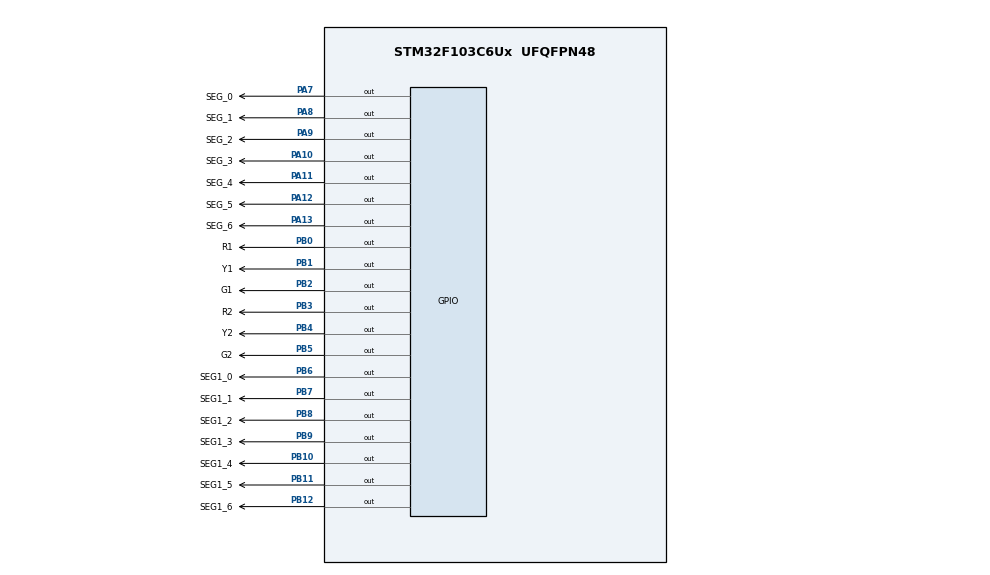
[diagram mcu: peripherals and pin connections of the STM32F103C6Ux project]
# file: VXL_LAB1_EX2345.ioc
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Mcu.Family=STM32F1
Mcu.Name=STM32F103C6Ux
Mcu.Package=UFQFPN48
NVIC.PriorityGroup=NVIC_PRIORITYGROUP_4
PA10.GPIO_Label=SEG_3
PA10.Signal=GPIO_Output
PA11.GPIO_Label=SEG_4
PA11.Signal=GPIO_Output
PA12.GPIO_Label=SEG_5
PA12.Signal=GPIO_Output
PA13.GPIO_Label=SEG_6
PA13.Signal=GPIO_Output
PA7.GPIO_Label=SEG_0
PA7.Signal=GPIO_Output
PA8.GPIO_Label=SEG_1
PA8.Signal=GPIO_Output
PA9.GPIO_Label=SEG_2
PA9.Signal=GPIO_Output
PB0.GPIO_Label=R1
PB0.Signal=GPIO_Output
PB1.GPIO_Label=Y1
PB1.Signal=GPIO_Output
PB10.GPIO_Label=SEG1_4
PB10.Signal=GPIO_Output
PB11.GPIO_Label=SEG1_5
PB11.Signal=GPIO_Output
PB12.GPIO_Label=SEG1_6
PB12.Signal=GPIO_Output
PB2.GPIO_Label=G1
PB2.Signal=GPIO_Output
PB3.GPIO_Label=R2
PB3.Signal=GPIO_Output
PB4.GPIO_Label=Y2
PB4.Signal=GPIO_Output
PB5.GPIO_Label=G2
PB5.Signal=GPIO_Output
PB6.GPIO_Label=SEG1_0
PB6.Signal=GPIO_Output
PB7.GPIO_Label=SEG1_1
PB7.Signal=GPIO_Output
PB8.GPIO_Label=SEG1_2
PB8.Signal=GPIO_Output
PB9.GPIO_Label=SEG1_3
PB9.Signal=GPIO_Output
ProjectManager.HeapSize=0x200
ProjectManager.StackSize=0x400
ProjectManager.TargetToolchain=STM32CubeIDE
RCC.APB1Freq_Value=8000000
RCC.APB2Freq_Value=8000000
VP_SYS_VS_ND.Mode=No_Debug
board=custom

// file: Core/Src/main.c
/* USER CODE BEGIN Header */
/**
  ******************************************************************************
  * @file           : main.c
  * @brief          : Main program body
  ******************************************************************************
  * @attention
  *
  * <h2><center>&copy; Copyright (c) 2024 STMicroelectronics.
  * All rights reserved.</center></h2>
  *
  * This software component is licensed by ST under BSD 3-Clause license,
  * the "License"; You may not use this file except in compliance with the
  * License. You may obtain a copy of the License at:
  *                        opensource.org/licenses/BSD-3-Clause
  *
  ******************************************************************************
  */
/* USER CODE END Header */
#include "main.h"

void SystemClock_Config(void);
static void MX_GPIO_Init(void);
/* USER CODE BEGIN PFP */
void display7SEG(int num);
void display7SEG1(int num);
/* USER CODE END PFP */

/* USER CODE BEGIN 0 */
enum ledColor {
	GREEN,
	YELLOW,
	RED
};
/* USER CODE END 0 */

int main(void)
{

  /* MCU Configuration--------------------------------------------------------*/

  /* Reset of all peripherals, Initializes the Flash interface and the Systick. */
  HAL_Init();

  /* Configure the system clock */
  SystemClock_Config();

  /* Initialize all configured peripherals */
  MX_GPIO_Init();
  /* USER CODE BEGIN 2 */

  int Rs1 = 8;
  int Gs1 = 5;
  int Ys1 = 3;
  enum ledColor next_color1 = GREEN;
  int Rs2 = 8;
  int Gs2 = 5;
  int Ys2 = 3;
  enum ledColor next_color2 = RED;
  /* USER CODE END 2 */

  /* Infinite loop */
  while (1)
  {
	  	  if (Gs1 <= 0)
	  	  	  {
	  	  		  Gs1 = 5;
	  	  		  next_color1 = YELLOW;
	  	  	  }
	  	  if (Ys1 <= 0)
	  	  	  {
	  	  	  	  Ys1 = 3;
	  	  	  	  next_color1 = RED;
	  	  	  }
	  	  if (Rs1 <= 0)
	  	  	  {
	  		  	  Rs1 = 8;
	  		  	  next_color1 = GREEN;
	  	  	  }
	  	  if (Gs2 <= 0)
	  	  	  {
	  	  	  	  Gs2 = 5;
	  	  	  	  next_color2 = YELLOW;
	  	  	  }
	  	  if (Ys2 <= 0)
	  	  	  {
	  	  	  	  Ys2 = 3;
	  	  	  	  next_color2 = RED;
	  	  	  }
	  	  if (Rs2 <= 0)
	  	  	  {
	  	  		  Rs2 = 8;
	  	  		  next_color2 = GREEN;
	  	  	  }
	  	  switch (next_color1)
	  	  	{
	  	  		case GREEN:
	  	  			HAL_GPIO_WritePin(R1_GPIO_Port, R1_Pin, GPIO_PIN_RESET);
	  	  			HAL_GPIO_WritePin(G1_GPIO_Port, G1_Pin, GPIO_PIN_SET);
	  	  			HAL_GPIO_WritePin(Y1_GPIO_Port, Y1_Pin, GPIO_PIN_RESET);
	  	  			Gs1--;
	  	  			display7SEG(Gs1);
	  	  			break;
	  	  		case YELLOW:
	  	  			HAL_GPIO_WritePin(R1_GPIO_Port, R1_Pin, GPIO_PIN_RESET);
	  	  			HAL_GPIO_WritePin(G1_GPIO_Port, G1_Pin, GPIO_PIN_RESET);
	  	  			HAL_GPIO_WritePin(Y1_GPIO_Port, Y1_Pin, GPIO_PIN_SET);
	  	  			Ys1--;
	  	  			display7SEG(Ys1);
	  	  			break;
	  	  		case RED:
	  	  			HAL_GPIO_WritePin(R1_GPIO_Port, R1_Pin, GPIO_PIN_SET);
	  	  			HAL_GPIO_WritePin(G1_GPIO_Port, G1_Pin, GPIO_PIN_RESET);
	  	  			HAL_GPIO_WritePin(Y1_GPIO_Port, Y1_Pin, GPIO_PIN_RESET);
	  	  			Rs1--;
	  	  			display7SEG(Rs1);
	  	  			break;
	  	  	}
	  	  switch (next_color2)
	  	  	{
	  	  		case GREEN:
	  	  			HAL_GPIO_WritePin(R2_GPIO_Port, R2_Pin, GPIO_PIN_RESET);
	  	  			HAL_GPIO_WritePin(G2_GPIO_Port, G2_Pin, GPIO_PIN_SET);
	  	  			HAL_GPIO_WritePin(Y2_GPIO_Port, Y2_Pin, GPIO_PIN_RESET);
	  	  			Gs2--;
	  	  			display7SEG1(Gs2);
	  	  			break;
	  	  		case YELLOW:
	  	  			HAL_GPIO_WritePin(R2_GPIO_Port, R2_Pin, GPIO_PIN_RESET);
	  	  			HAL_GPIO_WritePin(G2_GPIO_Port, G2_Pin, GPIO_PIN_RESET);
	  	  			HAL_GPIO_WritePin(Y2_GPIO_Port, Y2_Pin, GPIO_PIN_SET);
	  	  			Ys2--;
	  	  			display7SEG1(Ys2);
	  	  			break;
	  	  		case RED:
	  	  			HAL_GPIO_WritePin(R2_GPIO_Port, R2_Pin, GPIO_PIN_SET);
	  	  			HAL_GPIO_WritePin(G2_GPIO_Port, G2_Pin, GPIO_PIN_RESET);
	  	  			HAL_GPIO_WritePin(Y2_GPIO_Port, Y2_Pin, GPIO_PIN_RESET);
	  	  			Rs2--;
	  	  			display7SEG1(Rs2);
	  	  			break;
	  	  	}
	  	  HAL_Delay(1000);
  }
}

void SystemClock_Config(void)
{
  RCC_OscInitTypeDef RCC_OscInitStruct = {0};
  RCC_ClkInitTypeDef RCC_ClkInitStruct = {0};

  /** Initializes the RCC Oscillators according to the specified parameters
  * in the RCC_OscInitTypeDef structure.
  */
  RCC_OscInitStruct.OscillatorType = RCC_OSCILLATORTYPE_HSI;
  RCC_OscInitStruct.HSIState = RCC_HSI_ON;
  RCC_OscInitStruct.HSICalibrationValue = RCC_HSICALIBRATION_DEFAULT;
  RCC_OscInitStruct.PLL.PLLState = RCC_PLL_NONE;
  if (HAL_RCC_OscConfig(&RCC_OscInitStruct) != HAL_OK)
  {
    Error_Handler();
  }
  /** Initializes the CPU, AHB and APB buses clocks
  */
  RCC_ClkInitStruct.ClockType = RCC_CLOCKTYPE_HCLK|RCC_CLOCKTYPE_SYSCLK
                              |RCC_CLOCKTYPE_PCLK1|RCC_CLOCKTYPE_PCLK2;
  RCC_ClkInitStruct.SYSCLKSource = RCC_SYSCLKSOURCE_HSI;
  RCC_ClkInitStruct.AHBCLKDivider = RCC_SYSCLK_DIV1;
  RCC_ClkInitStruct.APB1CLKDivider = RCC_HCLK_DIV1;
  RCC_ClkInitStruct.APB2CLKDivider = RCC_HCLK_DIV1;

  if (HAL_RCC_ClockConfig(&RCC_ClkInitStruct, FLASH_LATENCY_0) != HAL_OK)
  {
    Error_Handler();
  }
}

static void MX_GPIO_Init(void)
{
  GPIO_InitTypeDef GPIO_InitStruct = {0};

  /* GPIO Ports Clock Enable */
  __HAL_RCC_GPIOA_CLK_ENABLE();
  __HAL_RCC_GPIOB_CLK_ENABLE();

  /*Configure GPIO pin Output Level */
  HAL_GPIO_WritePin(GPIOA, SEG_0_Pin|SEG_1_Pin|SEG_2_Pin|SEG_3_Pin
                          |SEG_4_Pin|SEG_5_Pin|SEG_6_Pin, GPIO_PIN_RESET);

  /*Configure GPIO pin Output Level */
  HAL_GPIO_WritePin(GPIOB, R1_Pin|Y1_Pin|G1_Pin|SEG1_4_Pin
                          |SEG1_5_Pin|SEG1_6_Pin|R2_Pin|Y2_Pin
                          |G2_Pin|SEG1_0_Pin|SEG1_1_Pin|SEG1_2_Pin
                          |SEG1_3_Pin, GPIO_PIN_RESET);

  /*Configure GPIO pins : SEG_0_Pin SEG_1_Pin SEG_2_Pin SEG_3_Pin
                           SEG_4_Pin SEG_5_Pin SEG_6_Pin */
  GPIO_InitStruct.Pin = SEG_0_Pin|SEG_1_Pin|SEG_2_Pin|SEG_3_Pin
                          |SEG_4_Pin|SEG_5_Pin|SEG_6_Pin;
  GPIO_InitStruct.Mode = GPIO_MODE_OUTPUT_PP;
  GPIO_InitStruct.Pull = GPIO_NOPULL;
  GPIO_InitStruct.Speed = GPIO_SPEED_FREQ_LOW;
  HAL_GPIO_Init(GPIOA, &GPIO_InitStruct);

  /*Configure GPIO pins : R1_Pin Y1_Pin G1_Pin SEG1_4_Pin
                           SEG1_5_Pin SEG1_6_Pin R2_Pin Y2_Pin
                           G2_Pin SEG1_0_Pin SEG1_1_Pin SEG1_2_Pin
                           SEG1_3_Pin */
  GPIO_InitStruct.Pin = R1_Pin|Y1_Pin|G1_Pin|SEG1_4_Pin
                          |SEG1_5_Pin|SEG1_6_Pin|R2_Pin|Y2_Pin
                          |G2_Pin|SEG1_0_Pin|SEG1_1_Pin|SEG1_2_Pin
                          |SEG1_3_Pin;
  GPIO_InitStruct.Mode = GPIO_MODE_OUTPUT_PP;
  GPIO_InitStruct.Pull = GPIO_NOPULL;
  GPIO_InitStruct.Speed = GPIO_SPEED_FREQ_LOW;
  HAL_GPIO_Init(GPIOB, &GPIO_InitStruct);

}

/* USER CODE BEGIN 4 */
void display7SEG(int num)
{
	switch (num)
	{
		case 0:
			HAL_GPIO_WritePin(SEG_0_GPIO_Port, SEG_0_Pin, GPIO_PIN_RESET);
			HAL_GPIO_WritePin(SEG_1_GPIO_Port, SEG_1_Pin, GPIO_PIN_RESET);
			HAL_GPIO_WritePin(SEG_2_GPIO_Port, SEG_2_Pin, GPIO_PIN_RESET);
			HAL_GPIO_WritePin(SEG_3_GPIO_Port, SEG_3_Pin, GPIO_PIN_RESET);
			HAL_GPIO_WritePin(SEG_4_GPIO_Port, SEG_4_Pin, GPIO_PIN_RESET);
			HAL_GPIO_WritePin(SEG_5_GPIO_Port, SEG_5_Pin, GPIO_PIN_RESET);
			HAL_GPIO_WritePin(SEG_6_GPIO_Port, SEG_6_Pin, GPIO_PIN_SET);
			break;
		case 1:
			HAL_GPIO_WritePin(SEG_0_GPIO_Port, SEG_0_Pin, GPIO_PIN_SET);
			HAL_GPIO_WritePin(SEG_1_GPIO_Port, SEG_1_Pin, GPIO_PIN_RESET);
			HAL_GPIO_WritePin(SEG_2_GPIO_Port, SEG_2_Pin, GPIO_PIN_RESET);
			HAL_GPIO_WritePin(SEG_3_GPIO_Port, SEG_3_Pin, GPIO_PIN_SET);
			HAL_GPIO_WritePin(SEG_4_GPIO_Port, SEG_4_Pin, GPIO_PIN_SET);
			HAL_GPIO_WritePin(SEG_5_GPIO_Port, SEG_5_Pin, GPIO_PIN_SET);
			HAL_GPIO_WritePin(SEG_6_GPIO_Port, SEG_6_Pin, GPIO_PIN_SET);
			break;
		case 2:
			HAL_GPIO_WritePin(SEG_0_GPIO_Port, SEG_0_Pin, GPIO_PIN_RESET);
			HAL_GPIO_WritePin(SEG_1_GPIO_Port, SEG_1_Pin, GPIO_PIN_RESET);
			HAL_GPIO_WritePin(SEG_2_GPIO_Port, SEG_2_Pin, GPIO_PIN_SET);
			HAL_GPIO_WritePin(SEG_3_GPIO_Port, SEG_3_Pin, GPIO_PIN_RESET);
			HAL_GPIO_WritePin(SEG_4_GPIO_Port, SEG_4_Pin, GPIO_PIN_RESET);
			HAL_GPIO_WritePin(SEG_5_GPIO_Port, SEG_5_Pin, GPIO_PIN_SET);
			HAL_GPIO_WritePin(SEG_6_GPIO_Port, SEG_6_Pin, GPIO_PIN_RESET);
			break;
		  case 3:
			HAL_GPIO_WritePin(SEG_0_GPIO_Port, SEG_0_Pin, GPIO_PIN_RESET);
			HAL_GPIO_WritePin(SEG_1_GPIO_Port, SEG_1_Pin, GPIO_PIN_RESET);
			HAL_GPIO_WritePin(SEG_2_GPIO_Port, SEG_2_Pin, GPIO_PIN_RESET);
			HAL_GPIO_WritePin(SEG_3_GPIO_Port, SEG_3_Pin, GPIO_PIN_RESET);
			HAL_GPIO_WritePin(SEG_4_GPIO_Port, SEG_4_Pin, GPIO_PIN_SET);
			HAL_GPIO_WritePin(SEG_5_GPIO_Port, SEG_5_Pin, GPIO_PIN_SET);
			HAL_GPIO_WritePin(SEG_6_GPIO_Port, SEG_6_Pin, GPIO_PIN_RESET);
			break;
		  case 4:
			HAL_GPIO_WritePin(SEG_0_GPIO_Port, SEG_0_Pin, GPIO_PIN_SET);
			HAL_GPIO_WritePin(SEG_1_GPIO_Port, SEG_1_Pin, GPIO_PIN_RESET);
			HAL_GPIO_WritePin(SEG_2_GPIO_Port, SEG_2_Pin, GPIO_PIN_RESET);
			HAL_GPIO_WritePin(SEG_3_GPIO_Port, SEG_3_Pin, GPIO_PIN_SET);
			HAL_GPIO_WritePin(SEG_4_GPIO_Port, SEG_4_Pin, GPIO_PIN_SET);
			HAL_GPIO_WritePin(SEG_5_GPIO_Port, SEG_5_Pin, GPIO_PIN_RESET);
			HAL_GPIO_WritePin(SEG_6_GPIO_Port, SEG_6_Pin, GPIO_PIN_RESET);
			break;
		  case 5:
			HAL_GPIO_WritePin(SEG_0_GPIO_Port, SEG_0_Pin, GPIO_PIN_RESET);
			HAL_GPIO_WritePin(SEG_1_GPIO_Port, SEG_1_Pin, GPIO_PIN_SET);
			HAL_GPIO_WritePin(SEG_2_GPIO_Port, SEG_2_Pin, GPIO_PIN_RESET);
			HAL_GPIO_WritePin(SEG_3_GPIO_Port, SEG_3_Pin, GPIO_PIN_RESET);
			HAL_GPIO_WritePin(SEG_4_GPIO_Port, SEG_4_Pin, GPIO_PIN_SET);
			HAL_GPIO_WritePin(SEG_5_GPIO_Port, SEG_5_Pin, GPIO_PIN_RESET);
			HAL_GPIO_WritePin(SEG_6_GPIO_Port, SEG_6_Pin, GPIO_PIN_RESET);
			break;
		  case 6:
			HAL_GPIO_WritePin(SEG_0_GPIO_Port, SEG_0_Pin, GPIO_PIN_RESET);
			HAL_GPIO_WritePin(SEG_1_GPIO_Port, SEG_1_Pin, GPIO_PIN_SET);
			HAL_GPIO_WritePin(SEG_2_GPIO_Port, SEG_2_Pin, GPIO_PIN_RESET);
			HAL_GPIO_WritePin(SEG_3_GPIO_Port, SEG_3_Pin, GPIO_PIN_RESET);
			HAL_GPIO_WritePin(SEG_4_GPIO_Port, SEG_4_Pin, GPIO_PIN_RESET);
			HAL_GPIO_WritePin(SEG_5_GPIO_Port, SEG_5_Pin, GPIO_PIN_RESET);
			HAL_GPIO_WritePin(SEG_6_GPIO_Port, SEG_6_Pin, GPIO_PIN_RESET);
			break;
		  case 7:
			HAL_GPIO_WritePin(SEG_0_GPIO_Port, SEG_0_Pin, GPIO_PIN_RESET);
			HAL_GPIO_WritePin(SEG_1_GPIO_Port, SEG_1_Pin, GPIO_PIN_RESET);
			HAL_GPIO_WritePin(SEG_2_GPIO_Port, SEG_2_Pin, GPIO_PIN_RESET);
			HAL_GPIO_WritePin(SEG_3_GPIO_Port, SEG_3_Pin, GPIO_PIN_SET);
			HAL_GPIO_WritePin(SEG_4_GPIO_Port, SEG_4_Pin, GPIO_PIN_SET);
			HAL_GPIO_WritePin(SEG_5_GPIO_Port, SEG_5_Pin, GPIO_PIN_SET);
			HAL_GPIO_WritePin(SEG_6_GPIO_Port, SEG_6_Pin, GPIO_PIN_SET);
			break;
		  case 8:
			HAL_GPIO_WritePin(SEG_0_GPIO_Port, SEG_0_Pin, GPIO_PIN_RESET);
			HAL_GPIO_WritePin(SEG_1_GPIO_Port, SEG_1_Pin, GPIO_PIN_RESET);
			HAL_GPIO_WritePin(SEG_2_GPIO_Port, SEG_2_Pin, GPIO_PIN_RESET);
			HAL_GPIO_WritePin(SEG_3_GPIO_Port, SEG_3_Pin, GPIO_PIN_RESET);
			HAL_GPIO_WritePin(SEG_4_GPIO_Port, SEG_4_Pin, GPIO_PIN_RESET);
			HAL_GPIO_WritePin(SEG_5_GPIO_Port, SEG_5_Pin, GPIO_PIN_RESET);
			HAL_GPIO_WritePin(SEG_6_GPIO_Port, SEG_6_Pin, GPIO_PIN_RESET);
			break;
		  default:
			HAL_GPIO_WritePin(SEG_0_GPIO_Port, SEG_0_Pin, GPIO_PIN_RESET);
			HAL_GPIO_WritePin(SEG_1_GPIO_Port, SEG_1_Pin, GPIO_PIN_RESET);
			HAL_GPIO_WritePin(SEG_2_GPIO_Port, SEG_2_Pin, GPIO_PIN_RESET);
			HAL_GPIO_WritePin(SEG_3_GPIO_Port, SEG_3_Pin, GPIO_PIN_RESET);
			HAL_GPIO_WritePin(SEG_4_GPIO_Port, SEG_4_Pin, GPIO_PIN_SET);
			HAL_GPIO_WritePin(SEG_5_GPIO_Port, SEG_5_Pin, GPIO_PIN_RESET);
			HAL_GPIO_WritePin(SEG_6_GPIO_Port, SEG_6_Pin, GPIO_PIN_RESET);
			break;
	}
}

void display7SEG1(int num)
{
	switch (num)
	{
		case 0:
			HAL_GPIO_WritePin(SEG1_0_GPIO_Port, SEG1_0_Pin, GPIO_PIN_RESET);
			HAL_GPIO_WritePin(SEG1_1_GPIO_Port, SEG1_1_Pin, GPIO_PIN_RESET);
			HAL_GPIO_WritePin(SEG1_2_GPIO_Port, SEG1_2_Pin, GPIO_PIN_RESET);
			HAL_GPIO_WritePin(SEG1_3_GPIO_Port, SEG1_3_Pin, GPIO_PIN_RESET);
			HAL_GPIO_WritePin(SEG1_4_GPIO_Port, SEG1_4_Pin, GPIO_PIN_RESET);
			HAL_GPIO_WritePin(SEG1_5_GPIO_Port, SEG1_5_Pin, GPIO_PIN_RESET);
			HAL_GPIO_WritePin(SEG1_6_GPIO_Port, SEG1_6_Pin, GPIO_PIN_SET);
			break;
		case 1:
			HAL_GPIO_WritePin(SEG1_0_GPIO_Port, SEG1_0_Pin, GPIO_PIN_SET);
			HAL_GPIO_WritePin(SEG1_1_GPIO_Port, SEG1_1_Pin, GPIO_PIN_RESET);
			HAL_GPIO_WritePin(SEG1_2_GPIO_Port, SEG1_2_Pin, GPIO_PIN_RESET);
			HAL_GPIO_WritePin(SEG1_3_GPIO_Port, SEG1_3_Pin, GPIO_PIN_SET);
			HAL_GPIO_WritePin(SEG1_4_GPIO_Port, SEG1_4_Pin, GPIO_PIN_SET);
			HAL_GPIO_WritePin(SEG1_5_GPIO_Port, SEG1_5_Pin, GPIO_PIN_SET);
			HAL_GPIO_WritePin(SEG1_6_GPIO_Port, SEG1_6_Pin, GPIO_PIN_SET);
			break;
		case 2:
			HAL_GPIO_WritePin(SEG1_0_GPIO_Port, SEG1_0_Pin, GPIO_PIN_RESET);
			HAL_GPIO_WritePin(SEG1_1_GPIO_Port, SEG1_1_Pin, GPIO_PIN_RESET);
			HAL_GPIO_WritePin(SEG1_2_GPIO_Port, SEG1_2_Pin, GPIO_PIN_SET);
			HAL_GPIO_WritePin(SEG1_3_GPIO_Port, SEG1_3_Pin, GPIO_PIN_RESET);
			HAL_GPIO_WritePin(SEG1_4_GPIO_Port, SEG1_4_Pin, GPIO_PIN_RESET);
			HAL_GPIO_WritePin(SEG1_5_GPIO_Port, SEG1_5_Pin, GPIO_PIN_SET);
			HAL_GPIO_WritePin(SEG1_6_GPIO_Port, SEG1_6_Pin, GPIO_PIN_RESET);
			break;
		  case 3:
			HAL_GPIO_WritePin(SEG1_0_GPIO_Port, SEG1_0_Pin, GPIO_PIN_RESET);
			HAL_GPIO_WritePin(SEG1_1_GPIO_Port, SEG1_1_Pin, GPIO_PIN_RESET);
			HAL_GPIO_WritePin(SEG1_2_GPIO_Port, SEG1_2_Pin, GPIO_PIN_RESET);
			HAL_GPIO_WritePin(SEG1_3_GPIO_Port, SEG1_3_Pin, GPIO_PIN_RESET);
			HAL_GPIO_WritePin(SEG1_4_GPIO_Port, SEG1_4_Pin, GPIO_PIN_SET);
			HAL_GPIO_WritePin(SEG1_5_GPIO_Port, SEG1_5_Pin, GPIO_PIN_SET);
			HAL_GPIO_WritePin(SEG1_6_GPIO_Port, SEG1_6_Pin, GPIO_PIN_RESET);
			break;
		  case 4:
			HAL_GPIO_WritePin(SEG1_0_GPIO_Port, SEG1_0_Pin, GPIO_PIN_SET);
			HAL_GPIO_WritePin(SEG1_1_GPIO_Port, SEG1_1_Pin, GPIO_PIN_RESET);
			HAL_GPIO_WritePin(SEG1_2_GPIO_Port, SEG1_2_Pin, GPIO_PIN_RESET);
			HAL_GPIO_WritePin(SEG1_3_GPIO_Port, SEG1_3_Pin, GPIO_PIN_SET);
			HAL_GPIO_WritePin(SEG1_4_GPIO_Port, SEG1_4_Pin, GPIO_PIN_SET);
			HAL_GPIO_WritePin(SEG1_5_GPIO_Port, SEG1_5_Pin, GPIO_PIN_RESET);
			HAL_GPIO_WritePin(SEG1_6_GPIO_Port, SEG1_6_Pin, GPIO_PIN_RESET);
			break;
		  case 5:
			HAL_GPIO_WritePin(SEG1_0_GPIO_Port, SEG1_0_Pin, GPIO_PIN_RESET);
			HAL_GPIO_WritePin(SEG1_1_GPIO_Port, SEG1_1_Pin, GPIO_PIN_SET);
			HAL_GPIO_WritePin(SEG1_2_GPIO_Port, SEG1_2_Pin, GPIO_PIN_RESET);
			HAL_GPIO_WritePin(SEG1_3_GPIO_Port, SEG1_3_Pin, GPIO_PIN_RESET);
			HAL_GPIO_WritePin(SEG1_4_GPIO_Port, SEG1_4_Pin, GPIO_PIN_SET);
			HAL_GPIO_WritePin(SEG1_5_GPIO_Port, SEG1_5_Pin, GPIO_PIN_RESET);
			HAL_GPIO_WritePin(SEG1_6_GPIO_Port, SEG1_6_Pin, GPIO_PIN_RESET);
			break;
		  case 6:
			HAL_GPIO_WritePin(SEG1_0_GPIO_Port, SEG1_0_Pin, GPIO_PIN_RESET);
			HAL_GPIO_WritePin(SEG1_1_GPIO_Port, SEG1_1_Pin, GPIO_PIN_SET);
			HAL_GPIO_WritePin(SEG1_2_GPIO_Port, SEG1_2_Pin, GPIO_PIN_RESET);
			HAL_GPIO_WritePin(SEG1_3_GPIO_Port, SEG1_3_Pin, GPIO_PIN_RESET);
			HAL_GPIO_WritePin(SEG1_4_GPIO_Port, SEG1_4_Pin, GPIO_PIN_RESET);
			HAL_GPIO_WritePin(SEG1_5_GPIO_Port, SEG1_5_Pin, GPIO_PIN_RESET);
			HAL_GPIO_WritePin(SEG1_6_GPIO_Port, SEG1_6_Pin, GPIO_PIN_RESET);
			break;
		  case 7:
			HAL_GPIO_WritePin(SEG1_0_GPIO_Port, SEG1_0_Pin, GPIO_PIN_RESET);
			HAL_GPIO_WritePin(SEG1_1_GPIO_Port, SEG1_1_Pin, GPIO_PIN_RESET);
			HAL_GPIO_WritePin(SEG1_2_GPIO_Port, SEG1_2_Pin, GPIO_PIN_RESET);
			HAL_GPIO_WritePin(SEG1_3_GPIO_Port, SEG1_3_Pin, GPIO_PIN_SET);
			HAL_GPIO_WritePin(SEG1_4_GPIO_Port, SEG1_4_Pin, GPIO_PIN_SET);
			HAL_GPIO_WritePin(SEG1_5_GPIO_Port, SEG1_5_Pin, GPIO_PIN_SET);
			HAL_GPIO_WritePin(SEG1_6_GPIO_Port, SEG1_6_Pin, GPIO_PIN_SET);
			break;
		  case 8:
			HAL_GPIO_WritePin(SEG1_0_GPIO_Port, SEG1_0_Pin, GPIO_PIN_RESET);
			HAL_GPIO_WritePin(SEG1_1_GPIO_Port, SEG1_1_Pin, GPIO_PIN_RESET);
			HAL_GPIO_WritePin(SEG1_2_GPIO_Port, SEG1_2_Pin, GPIO_PIN_RESET);
			HAL_GPIO_WritePin(SEG1_3_GPIO_Port, SEG1_3_Pin, GPIO_PIN_RESET);
			HAL_GPIO_WritePin(SEG1_4_GPIO_Port, SEG1_4_Pin, GPIO_PIN_RESET);
			HAL_GPIO_WritePin(SEG1_5_GPIO_Port, SEG1_5_Pin, GPIO_PIN_RESET);
			HAL_GPIO_WritePin(SEG1_6_GPIO_Port, SEG1_6_Pin, GPIO_PIN_RESET);
			break;
		  default:
			HAL_GPIO_WritePin(SEG1_0_GPIO_Port, SEG1_0_Pin, GPIO_PIN_RESET);
			HAL_GPIO_WritePin(SEG1_1_GPIO_Port, SEG1_1_Pin, GPIO_PIN_RESET);
			HAL_GPIO_WritePin(SEG1_2_GPIO_Port, SEG1_2_Pin, GPIO_PIN_RESET);
			HAL_GPIO_WritePin(SEG1_3_GPIO_Port, SEG1_3_Pin, GPIO_PIN_RESET);
			HAL_GPIO_WritePin(SEG1_4_GPIO_Port, SEG1_4_Pin, GPIO_PIN_SET);
			HAL_GPIO_WritePin(SEG1_5_GPIO_Port, SEG1_5_Pin, GPIO_PIN_RESET);
			HAL_GPIO_WritePin(SEG1_6_GPIO_Port, SEG1_6_Pin, GPIO_PIN_RESET);
			break;
	}
}

/* USER CODE END 4 */

void Error_Handler(void)
{
  __disable_irq();
  while (1)
  {
  }
}

/************************ (C) COPYRIGHT STMicroelectronics *****END OF FILE****/
